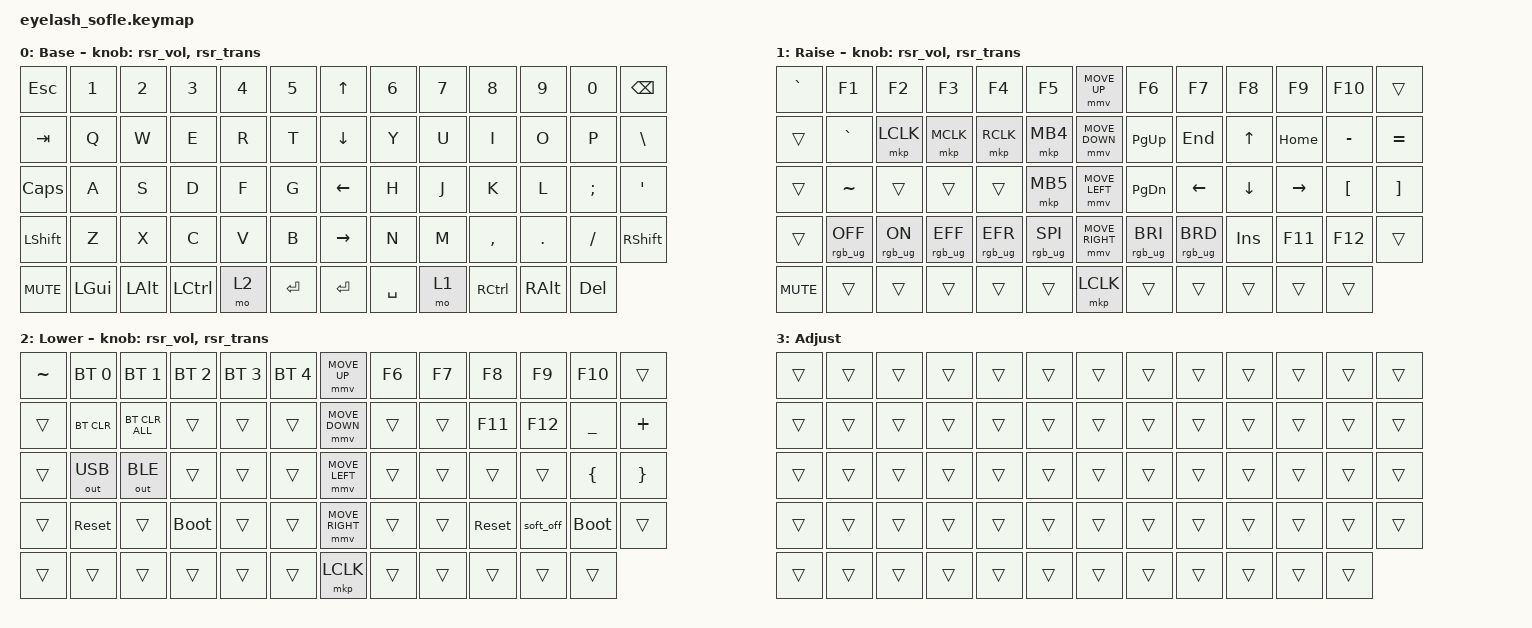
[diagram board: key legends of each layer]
#include <input/processors.dtsi>
#include <input/processors/runtime-input-processor.dtsi>
#include <behaviors/runtime-sensor-rotate.dtsi>

#include <zephyr/dt-bindings/input/input-event-codes.h>

#include <behaviors.dtsi>
#include <dt-bindings/zmk/bt.h>
#include <dt-bindings/zmk/keys.h>
#include <dt-bindings/zmk/outputs.h>
#include <dt-bindings/zmk/pointing.h>
#include <dt-bindings/zmk/rgb.h>

/* Движение курсора */
&mmv_input_listener {
    input-processors = <&mouse_runtime_input_processor>;
};

/* Прокрутка */
&msc_input_listener {
    input-processors = <&scroll_runtime_input_processor>;
};

/* Начальная скорость курсора: ×2 */
&mouse_runtime_input_processor {
    scale-multiplier = <2>;
    scale-divisor = <1>;
};

/* Начальная скорость прокрутки: ×2 */
&scroll_runtime_input_processor {
    scale-multiplier = <2>;
    scale-divisor = <1>;
};

&msc {
    acceleration-exponent = <0>;
    time-to-max-speed-ms = <0>;
    delay-ms = <0>;
};

&mmv {
    time-to-max-speed-ms = <400>;
    acceleration-exponent = <1>;
};

&soft_off { hold-time-ms = <2000>; };

/ {
    behaviors {
        rsr_vol: rsr_vol {
            compatible = "zmk,behavior-runtime-sensor-rotate";
            #sensor-binding-cells = <0>;
            tap-ms = <5>;
            cw-binding = <&kp C_VOL_UP>;
            ccw-binding = <&kp C_VOL_DN>;
        };

        rsr_trans: rsr_trans {
            compatible = "zmk,behavior-runtime-sensor-rotate";
            #sensor-binding-cells = <0>;
            tap-ms = <0>;
        };
    };

    macros {
        shift_MB3: shift_MB3 {
            compatible = "zmk,behavior-macro";
            #binding-cells = <0>;
            bindings =
                <&macro_press>,
                <&kp LEFT_SHIFT>,
                <&macro_press>,
                <&mkp MB3>,
                <&macro_pause_for_release>,
                <&macro_release>,
                <&mkp MB3 &kp LEFT_SHIFT>;

            label = "SHIFT_MB3";
        };
    };

    combos {
        compatible = "zmk,combos";

        softoff {
            bindings = <&soft_off>;
            key-positions = <14 28 40>;
        };
    };

    conditional_layers {
        compatible = "zmk,conditional-layers";

        adjust_layer {
            if-layers = <1 2>;
            then-layer = <3>;
        };
    };

    keymap {
        compatible = "zmk,keymap";

        layer0 {
            bindings = <
&kp ESC     &kp N1     &kp N2        &kp N3        &kp N4  &kp N5       &kp UP_ARROW     &kp N6     &kp N7     &kp N8     &kp N9           &kp N0      &kp BACKSPACE
&kp TAB     &kp Q      &kp W         &kp E         &kp R   &kp T        &kp DOWN_ARROW   &kp Y      &kp U      &kp I      &kp O            &kp P       &kp BSLH
&kp CAPS    &kp A      &kp S         &kp D         &kp F   &kp G        &kp LEFT_ARROW   &kp H      &kp J      &kp K      &kp L            &kp SEMI    &kp APOS
&kp LSHFT   &kp Z      &kp X         &kp C         &kp V   &kp B        &kp RIGHT_ARROW  &kp N      &kp M      &kp COMMA  &kp DOT          &kp FSLH    &kp RIGHT_SHIFT

&kp C_MUTE  &kp LEFT_GUI  &kp LEFT_ALT  &kp LCTRL  &mo 2  &kp ENTER    &kp ENTER        &kp SPACE  &mo 1  &kp RCTRL  &kp RIGHT_ALT  &kp DELETE

            >;

            display-name = "Base";
            sensor-bindings = <&rsr_vol &rsr_trans>;

        };

        layer_1 {
            bindings = <
&kp GRAVE   &kp F1           &kp F2          &kp F3           &kp F4           &kp F5             &mmv MOVE_UP     &kp F6           &kp F7           &kp F8      &kp F9     &kp F10           &trans
&trans      &kp GRAVE        &mkp LCLK       &mkp MCLK        &mkp RCLK        &mkp MB4           &mmv MOVE_DOWN   &kp PG_UP        &kp END          &kp UP      &kp HOME   &kp MINUS         &kp EQUAL
&trans      &kp TILDE        &trans          &trans           &trans           &mkp MB5           &mmv MOVE_LEFT   &kp PG_DN        &kp LEFT         &kp DOWN    &kp RIGHT  &kp LEFT_BRACKET  &kp RIGHT_BRACKET
&trans      &rgb_ug RGB_OFF  &rgb_ug RGB_ON  &rgb_ug RGB_EFF  &rgb_ug RGB_EFR  &rgb_ug RGB_SPI    &mmv MOVE_RIGHT  &rgb_ug RGB_BRI  &rgb_ug RGB_BRD  &kp INSERT  &kp F11    &kp F12           &trans

                                    &kp C_MUTE  &trans  &trans  &trans  &trans  &trans            &mkp LCLK            &trans  &trans  &trans  &trans &trans

            >;

            display-name = "Raise";
            sensor-bindings = <&rsr_vol &rsr_trans>;

        };

        layer_2 {
            bindings = <
&kp TILDE  &bt BT_SEL 0  &bt BT_SEL 1    &bt BT_SEL 2  &bt BT_SEL 3  &bt BT_SEL 4    &mmv MOVE_UP     &kp F6  &kp F7  &kp F8      &kp F9     &kp F10      &trans
&trans     &bt BT_CLR    &bt BT_CLR_ALL  &trans        &trans        &trans          &mmv MOVE_DOWN   &trans  &trans  &kp F11     &kp F12    &kp UNDER    &kp PLUS
&trans &out OUT_USB  &out OUT_BLE    &trans        &trans        &trans          &mmv MOVE_LEFT   &trans  &trans  &trans      &trans     &kp LBRC     &kp RBRC
&trans     &sys_reset    &trans          &bootloader   &trans        &trans          &mmv MOVE_RIGHT  &trans  &trans  &sys_reset  &soft_off  &bootloader  &trans
&trans     &trans        &trans          &trans        &trans        &trans          &mkp LCLK        &trans  &trans  &trans      &trans     &trans
            >;
             display-name = "Lower";
            sensor-bindings = <&rsr_vol &rsr_trans>;
        };

        layer_3 {
            bindings = <
&trans  &trans  &trans  &trans  &trans  &trans    &trans  &trans  &trans  &trans  &trans  &trans  &trans
&trans  &trans  &trans  &trans  &trans  &trans    &trans  &trans  &trans  &trans  &trans  &trans  &trans
&trans  &trans  &trans  &trans  &trans  &trans    &trans  &trans  &trans  &trans  &trans  &trans  &trans
&trans  &trans  &trans  &trans  &trans  &trans    &trans  &trans  &trans  &trans  &trans  &trans  &trans
&trans  &trans  &trans  &trans  &trans  &trans    &trans  &trans  &trans  &trans  &trans  &trans
            >;
            
            display-name = "Adjust";
        };
    };
};
